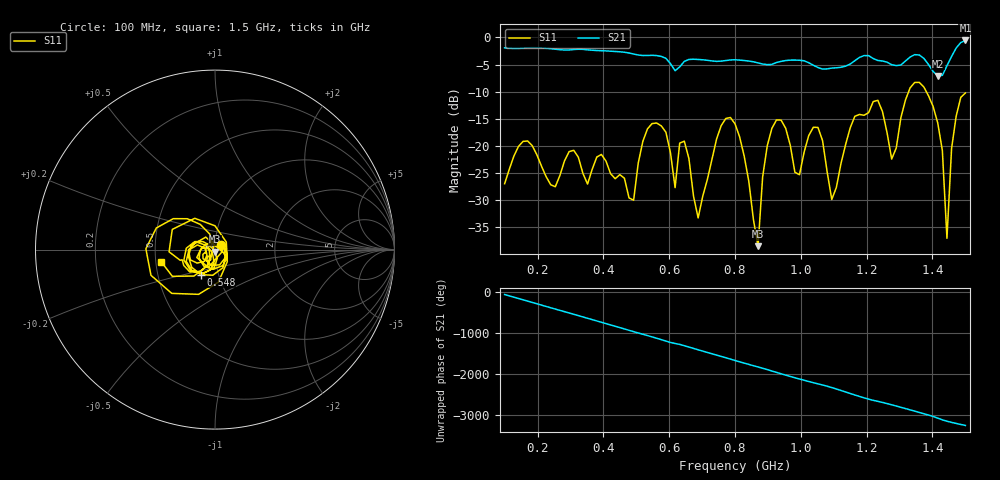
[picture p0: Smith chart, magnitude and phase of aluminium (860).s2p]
! NanoVNA-App
! Date: 2025-09-25 15:01:58
! Start: 100MHz Stop: 1,5GHz Points: 101
! S-Parameter data: F S11 S21 S12 S22
# Hz S RI R 50
!  Frequency  S11_Real  S11_Imag  S21_Real  S21_Imag  S12_Real  S12_Imag  S22_Real  S22_Imag
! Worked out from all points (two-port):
!   101 points, 100 MHz to 1.5 GHz, reference 50 ohm
!   highest |S21| = -0.57 dB at 1.5 GHz (marker M1); lowest = -7.1 dB at 1.416 GHz (marker M2)
!   |S21| within 3 dB of the highest: start of sweep to 578.5 MHz; 1.458 GHz to end of sweep (the widest 2 of 4)
!   lowest |S11| = -38.5 dB at 870 MHz (marker M3), VSWR 1.02, Z = 50.1 - j1.19 ohm
!   |S11| at or under -10 dB: start of sweep to 1.328 GHz; 1.381 GHz to end of sweep
!   S12 and S22 are empty: the file has one direction only
!   S11 on the Smith chart (normalised r, x): 100 MHz: 1.07, +0.06; 548 MHz: 0.82, -0.23; 1.5 GHz: 0.53, -0.08
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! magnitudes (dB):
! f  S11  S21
! 100 MHz  -27.0  -1.9
! 156 MHz  -19.2  -2.0
! 338 MHz  -25.1  -2.2
! 492 MHz  -30.0  -3.1
! 548 MHz  -15.9  -3.3
! 576 MHz  -16.3  -3.5
! 618 MHz  -27.7  -6.1
! 646 MHz  -19.1  -4.4
! 688 MHz  -33.2  -4.1
! 800 MHz  -15.9  -4.1
! 870 MHz  -38.5  -4.7
! 912 MHz  -16.8  -5.0
! 996 MHz  -25.3  -4.2
! 1.038 GHz  -16.6  -5.1
! 1.094 GHz  -29.9  -5.7
! 1.22 GHz  -11.8  -3.9
! 1.276 GHz  -22.4  -5.0
! 1.346 GHz  -8.3  -3.2
! 1.416 GHz  -15.8  -7.1
! 1.444 GHz  -37.0  -5.2
! 1.458 GHz  -20.5  -3.5
! 1.5 GHz  -10.2  -0.6
